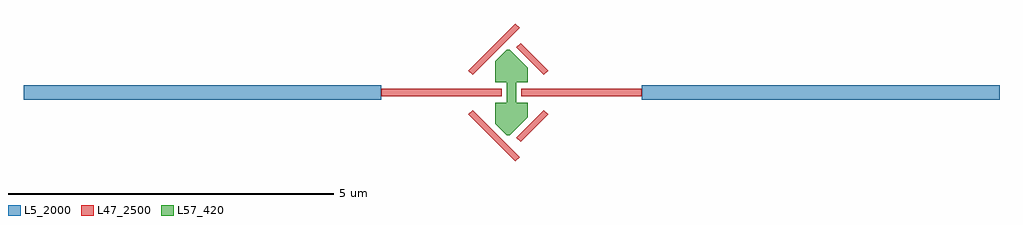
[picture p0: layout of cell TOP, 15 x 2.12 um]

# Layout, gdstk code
import gdstk
lib = gdstk.Library(unit=1e-6, precision=1e-09)
def R(c, l, rs):  # rectangles x0, y0, x1, y1
    for r in rs: c.add(gdstk.rectangle(r[:2], r[2:], *l))
def P(c, l, *ps):  # polygons
    for p in ps: c.add(gdstk.Polygon(p, *l))
L5_2000 = (5, 2000)
L47_2500 = (47, 2500)
L57_420 = (57, 420)

top = lib.new_cell('TOP')
R(top, L5_2000, [(2091.5,2304.89,2097,2305.11), (2101,2304.89,2106.5,2305.11)])
R(top, L47_2500, [(2097,2304.94,2098.85,2305.06), (2099.15,2304.94,2101,2305.06)])
P(top, L47_2500, [(2099.061,2303.94),(2098.337,2304.664),(2098.401,2304.728),(2099.125,2304.004)],
  [(2098.401,2305.272),(2098.337,2305.336),(2099.061,2306.06),(2099.125,2305.996)],
  [(2099.139,2304.24),(2099.075,2304.304),(2099.499,2304.728),(2099.563,2304.664)],
  [(2099.499,2305.272),(2099.075,2305.696),(2099.139,2305.76),(2099.563,2305.336)])
P(top, L57_420, [(2098.93,2304.34),(2098.75,2304.52),(2098.75,2304.84),(2098.925,2304.84),(2098.925,2305.16),(2098.75,2305.16),(2098.75,2305.48),(2098.93,2305.66),(2098.97,2305.66),(2099.25,2305.38),(2099.25,2305.16),(2099.075,2305.16),(2099.075,2304.84),(2099.25,2304.84),(2099.25,2304.62),(2098.97,2304.34)])

lib.write_gds('TOP.gds')
